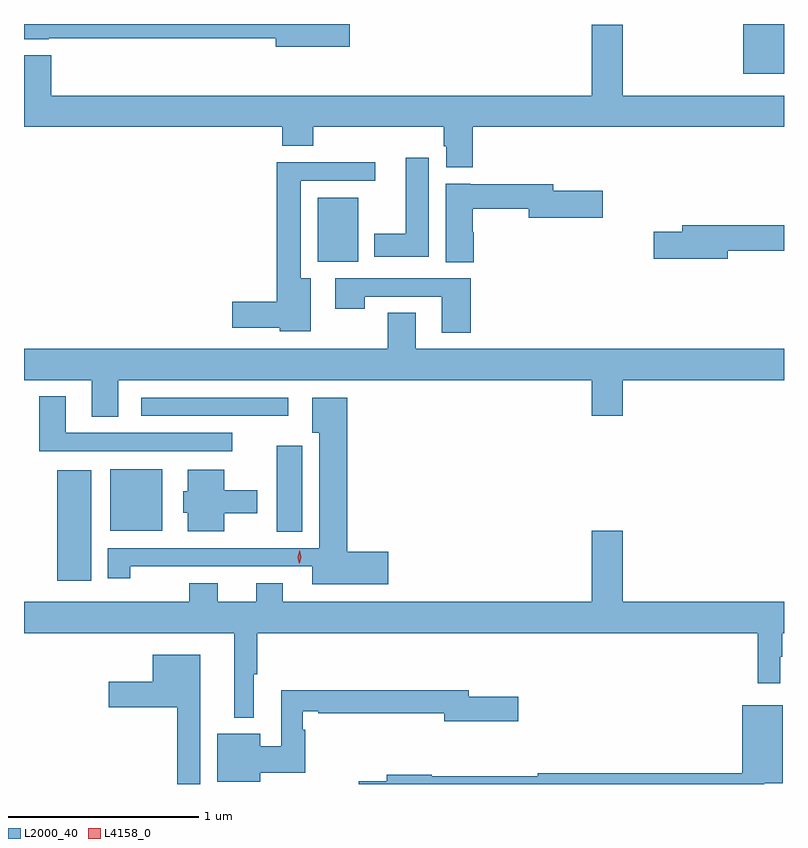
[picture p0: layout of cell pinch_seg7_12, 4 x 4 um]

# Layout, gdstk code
import gdstk
lib = gdstk.Library(unit=1e-6, precision=1e-09)
def R(c, l, rs):  # rectangles x0, y0, x1, y1
    for r in rs: c.add(gdstk.rectangle(r[:2], r[2:], *l))
def P(c, l, *ps):  # polygons
    for p in ps: c.add(gdstk.Polygon(p, *l))
L2000_40 = (2000, 40)
L4158_0 = (4158, 0)

pinch_seg7_12 = lib.new_cell('pinch_seg7_12')
R(pinch_seg7_12, L2000_40, [(1025.333,1047.512,1025.512,1048.093), (1026.488,1047.769,1026.622,1048.222), (1025.612,1047.776,1025.884,1048.099), (1025.775,1048.38,1026.547,1048.476), (1026.704,1049.192,1026.916,1049.527), (1028.942,1050.179,1029.157,1050.442)])
P(pinch_seg7_12, L2000_40, [(1026.871,1050.442),(1025.157,1050.442),(1025.157,1050.362),(1025.286,1050.362),(1025.286,1050.366),(1026.482,1050.366),(1026.482,1050.323),(1026.871,1050.323)],
  [(1027.52,1049.9),(1029.157,1049.9),(1029.157,1050.064),(1028.308,1050.064),(1028.308,1050.439),(1028.144,1050.439),(1028.144,1050.064),(1025.3,1050.064),(1025.3,1050.277),(1025.159,1050.277),(1025.159,1050.165),(1025.157,1050.165),(1025.157,1049.9),(1026.515,1049.9),(1026.515,1049.801),(1026.68,1049.801),(1026.68,1049.9),(1027.367,1049.9),(1027.367,1049.799),(1027.379,1049.799),(1027.379,1049.687),(1027.52,1049.687)],
  [(1027.288,1049.737),(1027.166,1049.737),(1027.166,1049.338),(1027.001,1049.338),(1027.001,1049.216),(1027.288,1049.216)],
  [(1026.667,1049.104),(1026.613,1049.104),(1026.613,1049.616),(1027.006,1049.616),(1027.006,1049.714),(1026.488,1049.714),(1026.488,1048.979),(1026.252,1048.979),(1026.252,1048.844),(1026.504,1048.844),(1026.504,1048.826),(1026.667,1048.826)],
  [(1027.523,1049.345),(1027.518,1049.345),(1027.518,1049.47),(1027.814,1049.47),(1027.814,1049.423),(1028.203,1049.423),(1028.203,1049.565),(1027.942,1049.565),(1027.942,1049.599),(1027.506,1049.599),(1027.506,1049.602),(1027.376,1049.602),(1027.376,1049.188),(1027.523,1049.188)],
  [(1028.86,1049.248),(1029.157,1049.248),(1029.157,1049.384),(1028.621,1049.384),(1028.621,1049.348),(1028.472,1049.348),(1028.472,1049.206),(1028.86,1049.206)],
  [(1027.507,1049.103),(1026.795,1049.103),(1026.795,1048.944),(1026.951,1048.944),(1026.951,1049.007),(1027.355,1049.007),(1027.355,1048.818),(1027.507,1048.818)],
  [(1025.653,1048.568),(1028.144,1048.568),(1028.144,1048.38),(1028.308,1048.38),(1028.308,1048.568),(1029.157,1048.568),(1029.157,1048.732),(1027.219,1048.732),(1027.219,1048.922),(1027.072,1048.922),(1027.072,1048.732),(1025.157,1048.732),(1025.157,1048.568),(1025.513,1048.568),(1025.513,1048.375),(1025.653,1048.375)],
  [(1026.253,1048.29),(1025.377,1048.29),(1025.377,1048.483),(1025.237,1048.483),(1025.237,1048.194),(1026.253,1048.194)],
  [(1027.075,1047.665),(1026.857,1047.665),(1026.857,1048.474),(1026.674,1048.474),(1026.674,1048.292),(1026.71,1048.292),(1026.71,1047.684),(1025.597,1047.684),(1025.597,1047.525),(1025.715,1047.525),(1025.715,1047.587),(1025.942,1047.587),(1025.942,1047.588),(1026.674,1047.588),(1026.674,1047.494),(1027.075,1047.494)],
  [(1026.211,1047.866),(1026.385,1047.866),(1026.385,1047.988),(1026.211,1047.988),(1026.211,1048.096),(1026.02,1048.096),(1026.02,1047.984),(1025.996,1047.984),(1025.996,1047.87),(1026.02,1047.87),(1026.02,1047.773),(1026.211,1047.773)],
  [(1026.367,1047.019),(1026.385,1047.019),(1026.385,1047.236),(1029.019,1047.236),(1029.019,1046.973),(1029.136,1046.973),(1029.136,1047.113),(1029.148,1047.113),(1029.148,1047.236),(1029.157,1047.236),(1029.157,1047.4),(1028.308,1047.4),(1028.308,1047.775),(1028.144,1047.775),(1028.144,1047.4),(1026.52,1047.4),(1026.52,1047.499),(1026.38,1047.499),(1026.38,1047.4),(1026.178,1047.4),(1026.178,1047.499),(1026.026,1047.499),(1026.026,1047.4),(1025.157,1047.4),(1025.157,1047.236),(1026.263,1047.236),(1026.263,1046.792),(1026.367,1046.792)],
  [(1026.085,1047.121),(1025.834,1047.121),(1025.834,1046.98),(1025.603,1046.98),(1025.603,1046.846),(1025.964,1046.846),(1025.964,1046.442),(1026.085,1046.442)],
  [(1026.4,1046.5),(1026.637,1046.5),(1026.637,1046.727),(1026.625,1046.727),(1026.625,1046.825),(1026.706,1046.825),(1026.706,1046.814),(1027.37,1046.814),(1027.37,1046.771),(1027.759,1046.771),(1027.759,1046.901),(1027.498,1046.901),(1027.498,1046.935),(1026.512,1046.935),(1026.512,1046.642),(1026.4,1046.642),(1026.4,1046.707),(1026.173,1046.707),(1026.173,1046.453),(1026.4,1046.453)],
  [(1029.052,1046.447),(1029.151,1046.447),(1029.151,1046.857),(1028.936,1046.857),(1028.936,1046.498),(1027.861,1046.498),(1027.861,1046.483),(1027.302,1046.483),(1027.302,1046.491),(1027.067,1046.491),(1027.067,1046.457),(1026.918,1046.457),(1026.918,1046.442),(1029.052,1046.442)])
P(pinch_seg7_12, L4158_0, [(1026.606,1047.6),(1026.606,1047.6),(1026.597,1047.635),(1026.607,1047.671),(1026.607,1047.671),(1026.607,1047.671),(1026.616,1047.635),(1026.606,1047.6)])

lib.write_gds('pinch_seg7_12.gds')
